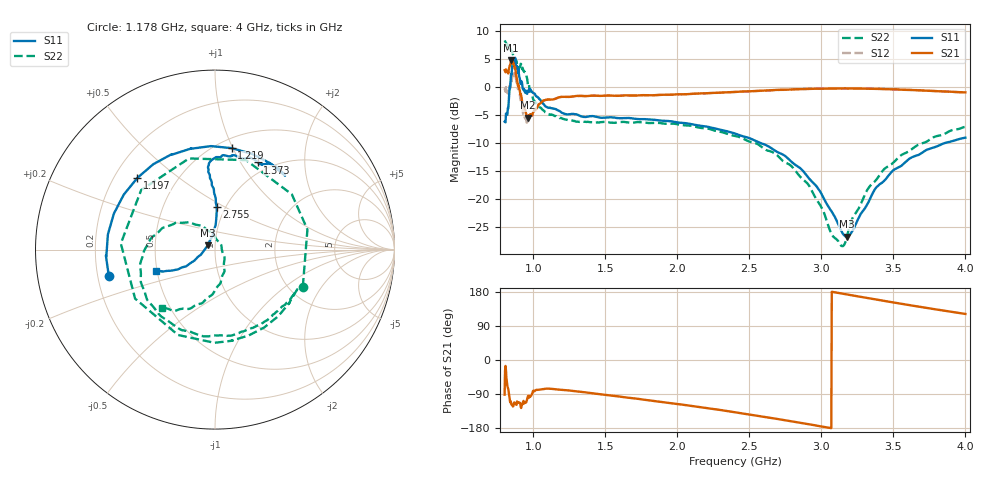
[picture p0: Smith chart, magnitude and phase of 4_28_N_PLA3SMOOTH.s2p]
!Keysight Technologies N9950B: A.12.38
!Date: Friday, 28 April 2023 16:50:24
!Timezone: (UTC-06:00) Central Time (US & Canada)
!Model: N9950B
!Serial: MY61131330
!GPS Latitude:
!GPS Longitude:
!GPS TimeStamp: 0001-01-01 00:00:00Z
!GPS Seconds Since Last Read: 0
!CHECKSUM:1015224053
!Correction: S11(ON U)S21(ON U)S12(ON U)S22(ON U)
!S2P File: Measurements:S11,S21,S12,S22:
# Hz S DB R 50
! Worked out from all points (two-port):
!   1001 points, 800 MHz to 4 GHz, reference 50 ohm
!   highest |S21| = 4.81 dB at 844.8 MHz (marker M1); lowest = -5.5 dB at 963.2 MHz (marker M2)
!   |S21| within 3 dB of the highest: start of sweep to 882.2 MHz
!   lowest |S11| = -26.7 dB at 3.174 GHz (marker M3), VSWR 1.10, Z = 46.2 + j2.23 ohm
!   |S11| at or under -10 dB: 2.574 GHz to 3.861 GHz (1.287 GHz wide, 40 % of centre)
!   |S22| runs from -28.5 to 8.3 dB; largest |S21 - S12| = 0.86
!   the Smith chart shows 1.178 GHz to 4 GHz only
!   S11 on the Smith chart (normalised r, x): 1.178 GHz: 0.25, -0.12; 1.197 GHz: 0.30, +0.36; 1.219 GHz: 0.59, +0.99; 1.373 GHz: 0.87, +1.19; 2.755 GHz: 0.91, +0.46; 4 GHz: 0.49, -0.14
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8e8  -6.19 100.9  2.99 -91.3  -0.27 -65.3  8.31 56.2
8.192e8  -4.97 95.7  2.61 -69.0  -1.10 -47.8  7.67 -27.3
8.448e8  2.30 125.7  4.81 -115.7  1.34 -89.7  6.51 -19.1
8.704e8  4.38 132.5  3.29 -115.7  1.96 -101.0  5.07 -53.4
8.992e8  2.27 130.2  0.07 -112.0  -0.60 -106.5  3.53 -79.3
9.28e8  -0.37 128.8  -3.14 -110.7  -4.69 -98.1  3.11 -98.7
9.632e8  -0.66 159.7  -5.51 -94.5  -6.11 -89.4  0.24 -130.9
1.0112e9  -1.29 -177.3  -4.06 -81.2  -4.09 -81.1  -2.68 -146.8
1.1456e9  -3.91 -148.8  -2.18 -76.9  -2.18 -76.9  -5.16 176.3
1.1776e9  -4.30 -165.8  -1.86 -78.2  -1.86 -78.2  -5.50 -22.9
1.1968e9  -4.60 137.2  -1.77 -78.7  -1.77 -78.7  -5.58 176.3
1.2192e9  -4.84 80.7  -1.77 -79.2  -1.77 -79.3  -5.79 -57.8
1.2416e9  -4.89 47.7  -1.78 -80.0  -1.78 -80.1  -5.94 -28.0
1.3344e9  -5.25 60.6  -1.61 -84.1  -1.61 -84.1  -6.28 -48.7
1.3728e9  -5.33 63.8  -1.63 -85.9  -1.63 -85.9  -6.24 -56.7
1.8688e9  -5.97 91.5  -1.42 -109.7  -1.42 -109.7  -6.43 -130.4
2.4e9  -8.32 93.0  -0.90 -137.7  -0.90 -137.7  -8.76 171.1
2.7552e9  -12.49 87.7  -0.50 -159.4  -0.50 -159.3  -13.57 133.3
2.9344e9  -16.93 88.2  -0.32 -170.9  -0.33 -170.8  -18.59 112.0
3.1744e9  -26.74 148.4  -0.26 173.2  -0.26 173.3  -27.05 -19.2
3.4688e9  -15.76 -150.8  -0.41 153.8  -0.41 153.8  -14.10 -83.1
4e9  -9.07 -160.0  -0.97 121.5  -0.97 121.5  -7.12 -132.5
